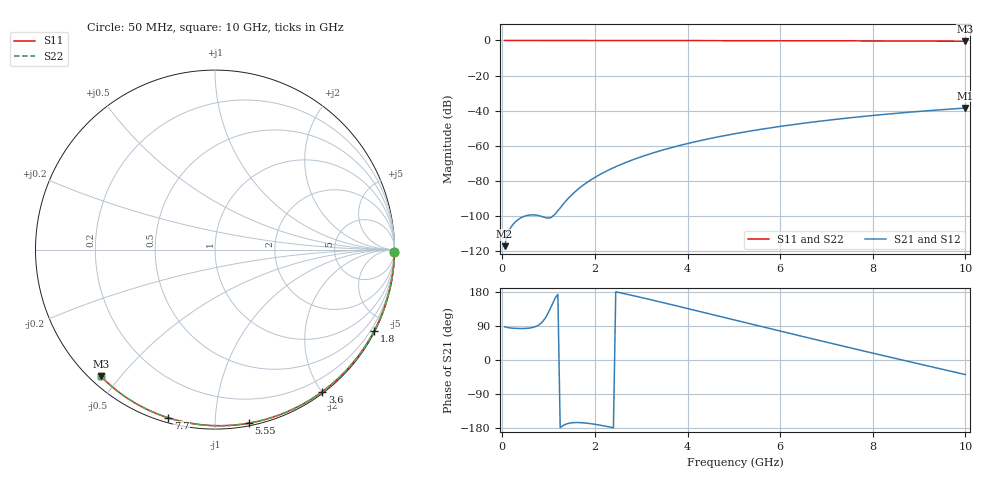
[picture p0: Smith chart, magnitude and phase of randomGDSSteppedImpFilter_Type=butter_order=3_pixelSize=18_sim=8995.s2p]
! freq	dB(S11)	phase(S11)	dB(S12)	phase(S12)
!  dB(S21)	phase(S21)	dB(S22)	phase(S22)
!S-par simulation data
#  GHz  S  DB  R 50
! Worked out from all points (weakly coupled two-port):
!   200 points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, 50 MHz to 10 GHz, reference 50 ohm
!   highest |S21| = -38.53 dB at 10 GHz (marker M1); lowest = -117.2 dB at 50 MHz (marker M2)
!   lowest |S11| = -0.4 dB at 10 GHz (marker M3), VSWR 38.92, Z = 1.54 - j22.2 ohm
!   |S11| at or under -10 dB: nowhere
!   |S22| runs from -0.4 to 0.0 dB; largest |S21 - S12| = 0
!   S11 on the Smith chart (normalised r, x): 50 MHz: open; 1.8 GHz: 0.04, -4.16; 3.6 GHz: 0.02, -2.01; 5.55 GHz: 0.02, -1.21; 7.7 GHz: 0.02, -0.76; 10 GHz: 0.03, -0.44
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0.05  -0.00 -0.8  -117.23 87.8  -117.23 87.8  -0.00 -0.8
0.9  -0.02 -13.6  -100.76 105.8  -100.76 105.8  -0.02 -13.6
1.75  -0.03 -26.3  -82.38 -165.8  -82.38 -165.8  -0.03 -26.3
1.8  -0.03 -27.0  -81.43 -166.4  -81.43 -166.4  -0.03 -27.0
1.85  -0.04 -27.8  -80.53 -167.1  -80.53 -167.1  -0.04 -27.8
1.9  -0.04 -28.5  -79.66 -167.9  -79.66 -167.9  -0.04 -28.5
2.05  -0.04 -30.7  -77.26 -170.7  -77.26 -170.7  -0.04 -30.7
2.25  -0.04 -33.6  -74.43 -175.1  -74.43 -175.1  -0.04 -33.6
2.45  -0.05 -36.5  -71.93 179.9  -71.93 179.9  -0.05 -36.5
2.65  -0.05 -39.4  -69.70 174.7  -69.70 174.7  -0.05 -39.4
3  -0.06 -44.4  -66.28 165.0  -66.28 165.0  -0.06 -44.4
3.4  -0.07 -50.1  -62.93 153.5  -62.93 153.5  -0.07 -50.1
3.6  -0.07 -52.9  -61.44 147.7  -61.44 147.7  -0.07 -52.9
4.3  -0.09 -62.5  -56.93 126.9  -56.93 126.9  -0.09 -62.5
5.05  -0.11 -72.5  -53.00 104.6  -53.00 104.6  -0.11 -72.5
5.55  -0.13 -79.0  -50.78 89.7  -50.78 89.7  -0.13 -78.9
6.1  -0.15 -85.9  -48.60 73.4  -48.60 73.4  -0.15 -85.9
6.7  -0.18 -93.4  -46.51 55.8  -46.51 55.8  -0.18 -93.4
7.7  -0.24 -105.5  -43.54 26.7  -43.54 26.7  -0.24 -105.4
8.35  -0.29 -113.1  -41.89 8.1  -41.89 8.1  -0.29 -113.1
9.15  -0.36 -122.3  -40.12 -14.6  -40.12 -14.6  -0.36 -122.3
10  -0.45 -132.0  -38.53 -38.5  -38.53 -38.5  -0.45 -132.0
